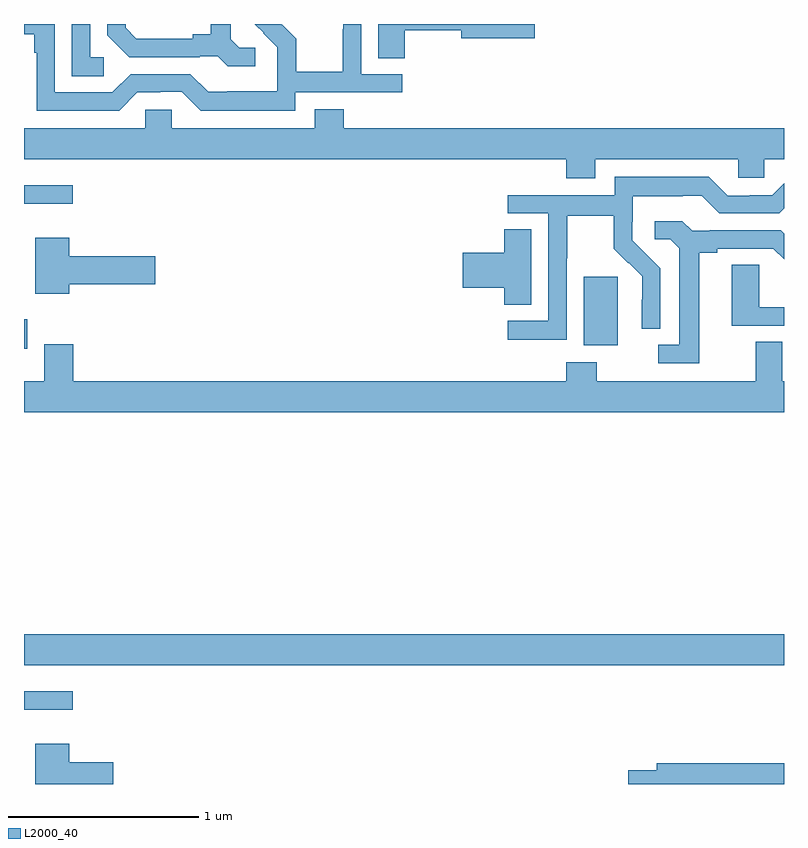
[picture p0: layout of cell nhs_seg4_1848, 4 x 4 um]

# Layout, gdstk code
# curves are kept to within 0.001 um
import gdstk
lib = gdstk.Library(unit=1e-6, precision=1e-09)
def R(c, l, rs):  # rectangles x0, y0, x1, y1
    for r in rs: c.add(gdstk.rectangle(r[:2], r[2:], *l))
def P(c, l, *ps):  # polygons
    for p in ps: c.add(gdstk.Polygon(p, *l))
L2000_40 = (2000, 40)

nhs_seg4_1848 = lib.new_cell('nhs_seg4_1848')
R(nhs_seg4_1848, L2000_40, [(207,759.291,207.256,759.388), (207,759.524,211,759.688), (207,761.192,207.016,761.346), (209.945,761.21,210.124,761.571), (207,761.955,207.256,762.052)])
P(nhs_seg4_1848, L2000_40, [(208.428,762.54),(208.99,762.54),(208.99,762.636),(208.776,762.636),(208.776,762.9),(208.68,762.9),(208.68,762.872),(208.678,762.872),(208.678,762.649),(208.433,762.649),(208.433,762.823),(208.356,762.9),(208.353,762.897),(208.35,762.9),(208.214,762.9),(208.334,762.778),(208.334,762.681),(208.332,762.681),(208.332,762.547),(208.069,762.547),(208.069,762.543),(207.969,762.543),(207.876,762.636),(207.561,762.636),(207.465,762.54),(207.162,762.54),(207.162,762.9),(207,762.9),(207,762.846),(207.053,762.846),(207.053,762.749),(207.066,762.749),(207.066,762.444),(207.501,762.444),(207.597,762.54),(207.716,762.54),(207.716,762.543),(207.831,762.543),(207.931,762.443),(208.428,762.443)],
  [(209.004,762.868),(209.3,762.868),(209.3,762.826),(209.689,762.826),(209.689,762.9),(208.865,762.9),(208.865,762.721),(209.004,762.721)],
  [(207.421,762.726),(207.348,762.726),(207.348,762.9),(207.252,762.9),(207.252,762.625),(207.421,762.625)],
  [(208.216,762.774),(208.134,762.774),(208.087,762.821),(208.087,762.9),(207.983,762.9),(207.983,762.845),(207.887,762.845),(207.887,762.822),(207.592,762.822),(207.535,762.879),(207.535,762.9),(207.438,762.9),(207.438,762.842),(207.554,762.726),(207.926,762.726),(207.926,762.729),(208.02,762.729),(208.072,762.677),(208.216,762.677)],
  [(210.007,762.188),(210.759,762.188),(210.759,762.09),(210.897,762.09),(210.897,762.188),(211,762.188),(211,762.352),(208.682,762.352),(208.682,762.451),(208.529,762.451),(208.529,762.352),(207.777,762.352),(207.777,762.45),(207.639,762.45),(207.639,762.352),(207,762.352),(207,762.188),(209.855,762.188),(209.855,762.089),(210.007,762.089)],
  [(209.856,761.668),(209.859,761.668),(209.859,761.892),(210.103,761.892),(210.103,761.717),(210.18,761.64),(210.183,761.643),(210.254,761.573),(210.254,761.45),(210.252,761.45),(210.252,761.296),(210.348,761.296),(210.348,761.614),(210.202,761.762),(210.202,761.859),(210.204,761.859),(210.204,761.993),(210.467,761.993),(210.467,761.997),(210.567,761.997),(210.66,761.904),(210.975,761.904),(211,761.929),(211,762.061),(210.939,762),(210.821,762),(210.821,761.997),(210.705,761.997),(210.605,762.097),(210.108,762.097),(210.108,762),(209.547,762),(209.547,761.904),(209.76,761.904),(209.76,761.337),(209.547,761.337),(209.547,761.239),(209.856,761.239)],
  [(210.553,761.696),(210.649,761.696),(210.649,761.718),(210.944,761.718),(211,761.662),(211,761.796),(210.982,761.814),(210.61,761.814),(210.61,761.811),(210.516,761.811),(210.464,761.863),(210.321,761.863),(210.321,761.766),(210.402,761.766),(210.449,761.719),(210.449,761.211),(210.339,761.211),(210.339,761.115),(210.553,761.115)],
  [(209.671,761.819),(209.528,761.819),(209.528,761.696),(209.31,761.696),(209.31,761.513),(209.528,761.513),(209.528,761.422),(209.671,761.422)],
  [(207.238,761.531),(207.691,761.531),(207.691,761.678),(207.238,761.678),(207.238,761.776),(207.059,761.776),(207.059,761.48),(207.238,761.48)],
  [(211,761.409),(210.87,761.409),(210.87,761.633),(210.725,761.633),(210.725,761.313),(211,761.313)],
  [(211,761.02),(210.991,761.02),(210.991,761.228),(210.851,761.228),(210.851,761.02),(210.015,761.02),(210.015,761.119),(209.855,761.119),(209.855,761.02),(207.26,761.02),(207.26,761.215),(207.107,761.215),(207.107,761.02),(207,761.02),(207,760.856),(211,760.856)],
  [(207.469,759.014),(207.238,759.014),(207.238,759.112),(207.059,759.112),(207.059,758.9),(207.469,758.9)],
  [(211,759.008),(210.329,759.008),(210.329,758.972),(210.18,758.972),(210.18,758.9),(211,758.9)])

lib.write_gds('nhs_seg4_1848.gds')
